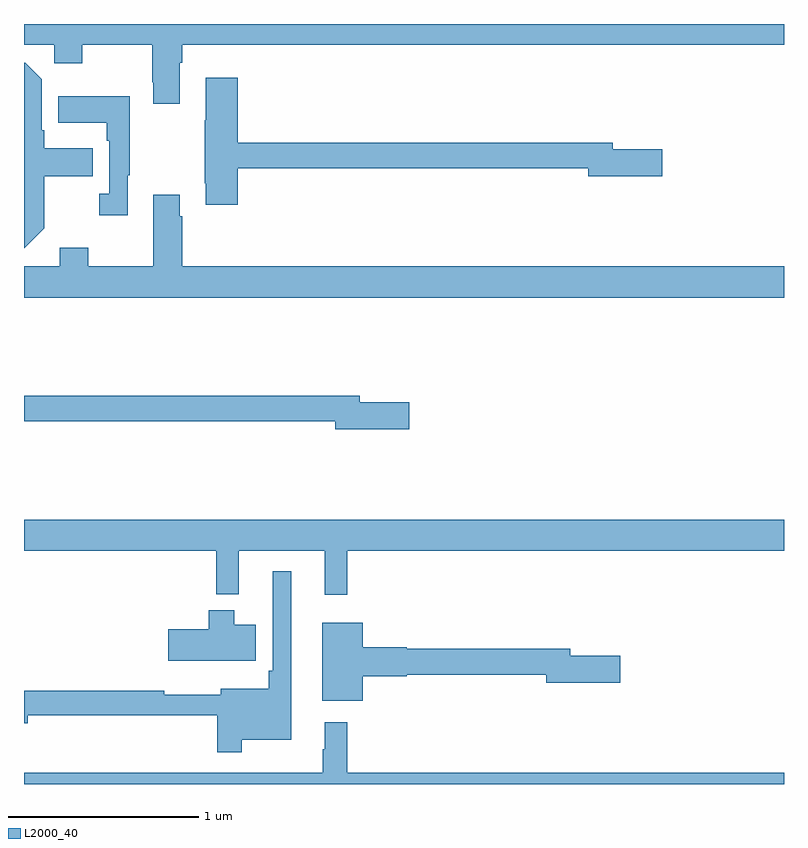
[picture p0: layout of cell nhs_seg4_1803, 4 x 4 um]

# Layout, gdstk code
import gdstk
lib = gdstk.Library(unit=1e-6, precision=1e-09)
def P(c, l, *ps):  # polygons
    for p in ps: c.add(gdstk.Polygon(p, *l))
L2000_40 = (2000, 40)

nhs_seg4_1803 = lib.new_cell('nhs_seg4_1803')
P(nhs_seg4_1803, L2000_40, [(203,824.792),(203.16,824.792),(203.16,824.693),(203.307,824.693),(203.307,824.792),(203.674,824.792),(203.674,824.593),(203.681,824.593),(203.681,824.481),(203.821,824.481),(203.821,824.696),(203.834,824.696),(203.834,824.792),(207,824.792),(207,824.9),(203,824.9)],
  [(203.107,823.825),(203.107,824.098),(203.363,824.098),(203.363,824.245),(203.107,824.245),(203.107,824.341),(203.094,824.341),(203.094,824.61),(203.007,824.697),(203,824.697),(203,823.719),(203.001,823.719)],
  [(204.125,824.14),(205.97,824.14),(205.97,824.098),(206.359,824.098),(206.359,824.24),(206.098,824.24),(206.098,824.276),(204.125,824.276),(204.125,824.617),(203.957,824.617),(203.957,824.393),(203.95,824.393),(203.95,824.062),(203.957,824.062),(203.957,823.95),(204.125,823.95)],
  [(203.545,824.105),(203.557,824.105),(203.557,824.521),(203.179,824.521),(203.179,824.381),(203.436,824.381),(203.436,824.285),(203.448,824.285),(203.448,824.006),(203.397,824.006),(203.397,823.893),(203.545,823.893)],
  [(207,823.624),(203.834,823.624),(203.834,823.889),(203.821,823.889),(203.821,824.002),(203.681,824.002),(203.681,823.624),(203.337,823.624),(203.337,823.723),(203.189,823.723),(203.189,823.624),(203,823.624),(203,823.46),(207,823.46)],
  [(205.027,822.908),(204.766,822.908),(204.766,822.944),(203,822.944),(203,822.808),(204.638,822.808),(204.638,822.766),(205.027,822.766)],
  [(204.701,822.128),(207,822.128),(207,822.292),(203,822.292),(203,822.128),(204.013,822.128),(204.013,821.9),(204.131,821.9),(204.131,822.128),(204.584,822.128),(204.584,821.895),(204.701,821.895)],
  [(204.145,821.132),(204.406,821.132),(204.406,822.019),(204.309,822.019),(204.309,821.497),(204.289,821.497),(204.289,821.401),(204.035,821.401),(204.035,821.371),(203.739,821.371),(203.739,821.39),(203,821.39),(203,821.219),(203.02,821.219),(203.02,821.262),(204.016,821.262),(204.016,821.067),(204.145,821.067)],
  [(204.22,821.737),(204.106,821.737),(204.106,821.815),(203.972,821.815),(203.972,821.715),(203.76,821.715),(203.76,821.549),(204.22,821.549)],
  [(204.784,821.468),(205.014,821.468),(205.014,821.476),(205.748,821.476),(205.748,821.434),(206.137,821.434),(206.137,821.576),(205.876,821.576),(205.876,821.612),(205.014,821.612),(205.014,821.62),(204.784,821.62),(204.784,821.749),(204.569,821.749),(204.569,821.339),(204.784,821.339)],
  [(207,820.96),(204.701,820.96),(204.701,821.224),(204.584,821.224),(204.584,821.084),(204.573,821.084),(204.573,820.96),(203,820.96),(203,820.9),(207,820.9)])

lib.write_gds('nhs_seg4_1803.gds')
